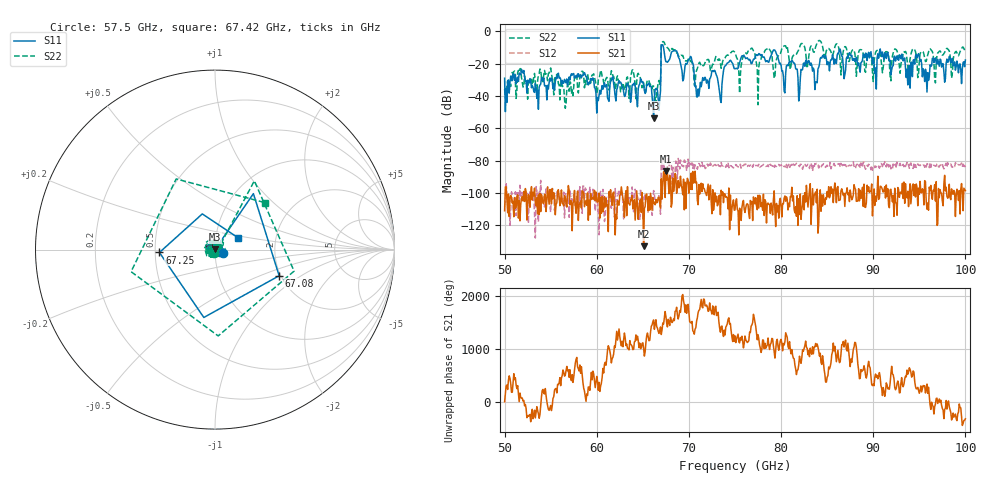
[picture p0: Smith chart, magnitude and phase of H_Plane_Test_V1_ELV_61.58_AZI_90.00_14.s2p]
! 11/27/2026 8:10:25 AM
! C:\ANRITSUVNA\TEMP\TEMP.S2P
! CHANNEL.1
! TR.MEASUREMENT
! RAW.DATA
# HZ S RI R 50.0
! FREQ.HZ  S11RE  S11IM  S21RE  S21IM  S12RE  S12IM  S22RE  S22IM
!; PortSelection: Port_12
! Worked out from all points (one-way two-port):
!   601 points, 50 GHz to 100 GHz, reference 50 ohm
!   highest |S21| = -86.51 dB at 67.5 GHz (marker M1); lowest = -133.0 dB at 65.08 GHz (marker M2)
!   lowest |S11| = -53.8 dB at 66.17 GHz (marker M3), VSWR 1.00, Z = 50.1 + j0.158 ohm
!   |S11| at or under -10 dB: start of sweep to 67 GHz; 67.24 GHz to end of sweep
!   |S22| runs from -47.6 to -5.6 dB; largest |S21 - S12| = 0.00014
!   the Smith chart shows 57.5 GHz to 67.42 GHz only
!   S11 on the Smith chart (normalised r, x): 57.5 GHz: 1.09, -0.04; 67.08 GHz: 1.96, -0.67; 67.25 GHz: 0.53, -0.02; 67.42 GHz: 1.29, +0.17
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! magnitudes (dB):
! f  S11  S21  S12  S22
! 50 GHz  -29.0  -111.1  -108.5  -35.7
! 57.5 GHz  -26.1  -105.4  -100.9  -34.4
! 58.42 GHz  -27.1  -98.7  -112.6  -24.7
! 60.17 GHz  -42.9  -103.5  -112.6  -30.2
! 65.08 GHz  -33.2  -133.0  -102.6  -31.8
! 66.17 GHz  -53.8  -106.7  -98.6  -33.9
! 66.67 GHz  -41.7  -102.8  -104.7  -31.6
! 67.08 GHz  -8.3  -103.9  -83.6  -6.8
! 67.25 GHz  -10.2  -86.9  -78.8  -6.3
! 67.42 GHz  -16.7  -102.9  -86.8  -8.4
! 67.5 GHz  -18.7  -86.5  -86.2  -9.1
! 70.17 GHz  -15.5  -97.8  -83.6  -18.5
! 70.92 GHz  -40.6  -104.8  -85.4  -22.9
! 75 GHz  -23.1  -110.6  -83.1  -13.1
! 79.25 GHz  -11.4  -98.8  -84.8  -29.0
! 80.25 GHz  -27.9  -106.7  -84.0  -9.3
! 83.42 GHz  -24.6  -97.4  -86.6  -10.9
! 91.67 GHz  -16.7  -107.6  -83.9  -15.3
! 93.75 GHz  -33.2  -99.0  -83.1  -21.7
! 94.83 GHz  -14.8  -108.0  -82.0  -28.6
! 95.83 GHz  -37.6  -110.1  -81.9  -16.4
! 100 GHz  -17.7  -98.6  -84.1  -12.6
